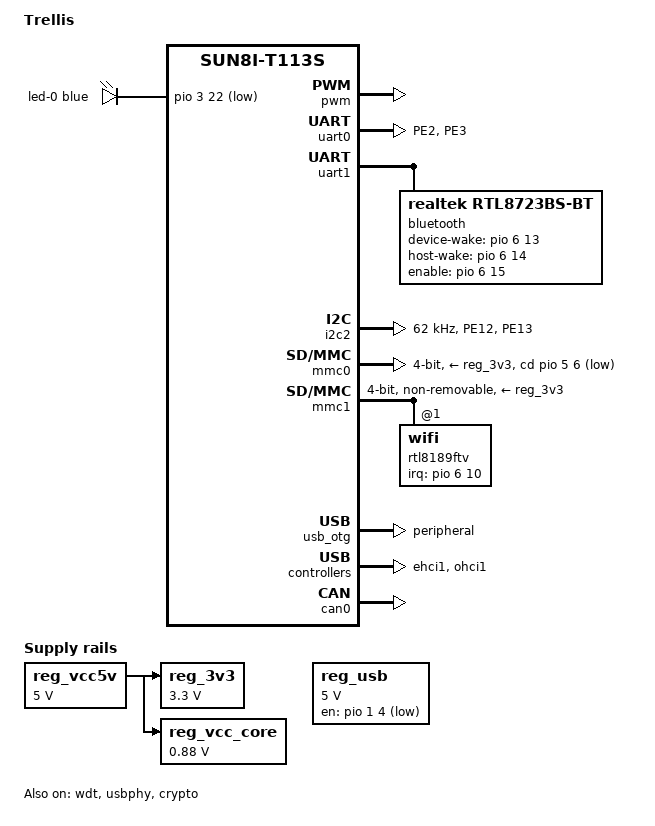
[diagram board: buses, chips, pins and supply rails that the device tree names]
// SPDX-License-Identifier: (GPL-2.0+ or MIT)
// Copyright (C) 2024 Connor Rigby <connorr@hey.com>

#include <dt-bindings/interrupt-controller/irq.h>

/dts-v1/;

#include <arm/allwinner/sun8i-t113s.dtsi>

#include <dt-bindings/gpio/gpio.h>
#include <dt-bindings/input/input.h>
#include <dt-bindings/leds/common.h>
#include <dt-bindings/pwm/pwm.h>

/ {
	model = "Trellis";
	compatible = "allwinner,sun8i-t113s", "allwinner,sun8i";

	aliases {
		mmc0 = &mmc0;
		serial0 = &uart0;
		serial1 = &uart1;
		ethernet0 = &rtl8189ftv;
	};

	chosen {
		stdout-path = "serial0:115200n8";
	};

	/* board wide 5V supply directly from the USB-C socket */
	reg_vcc5v: regulator-5v {
		compatible = "regulator-fixed";
		regulator-name = "vcc-5v";
		regulator-min-microvolt = <5000000>;
		regulator-max-microvolt = <5000000>;
		regulator-always-on;
	};

	/* SY8008 DC/DC regulator on the board */
	reg_3v3: regulator-3v3 {
		compatible = "regulator-fixed";
		regulator-name = "vcc-3v3";
		regulator-min-microvolt = <3300000>;
		regulator-max-microvolt = <3300000>;
		vin-supply = <&reg_vcc5v>;
	};

	/* SY8008 DC/DC regulator on the board, also supplying VDD-SYS */
	reg_vcc_core: regulator-core {
		compatible = "regulator-fixed";
		regulator-name = "vcc-core";
		regulator-min-microvolt = <880000>;
		regulator-max-microvolt = <880000>;
		vin-supply = <&reg_vcc5v>;
	};

	reg_usb: regulator-usb {
		compatible = "regulator-fixed";
		regulator-name = "vbus-5v";
		regulator-min-microvolt = <5000000>;
		regulator-max-microvolt = <5000000>;
		gpio = <&pio 1 4 GPIO_ACTIVE_LOW>; /* PB4 */
		startup-delay-us = <1000000>; /* 1 second */
		off-on-delay-us = <1000000>; /* 1 second */
		enable-active-low;
	};

	leds {
		compatible = "gpio-leds";

		led-0 {
			color = <LED_COLOR_ID_BLUE>;
			function = LED_FUNCTION_STATUS;
			gpios = <&pio 3 22 GPIO_ACTIVE_LOW>; /* PD22 */
		};
	};

};

&dcxo {
	clock-frequency = <24000000>;
};

&cpu0 {
	cpu-supply = <&reg_vcc_core>;
	clock-frequency = <1200000000>;
};

&cpu1 {
	cpu-supply = <&reg_vcc_core>;
	clock-frequency = <1200000000>;
};

&wdt {
	status = "okay";
};

&pio {
	vcc-pb-supply = <&reg_3v3>;
	vcc-pc-supply = <&reg_3v3>;
	vcc-pd-supply = <&reg_3v3>;
	vcc-pe-supply = <&reg_3v3>;
	vcc-pf-supply = <&reg_3v3>;
	vcc-pg-supply = <&reg_3v3>;

	uart0_pe2_pins: uart0-pe2-pins {
		pins = "PE2", "PE3";
		function = "uart0";
	};

	i2c2_pe12_pins: i2c2-pe12-pins {
		pins = "PE12", "PE13";
		function = "i2c2";
	};

	pwm0_pd16_pins: pwm0-pd16-pins {
		pins = "PD16";
		function = "pwm0";
	};

	pwm1_pd17_pins: pwm1-pd16-pins {
		pins = "PD17";
		function = "pwm1";
	};

	pwm2_pd18_pins: pwm2-pd18-pins {
		pins = "PD18";
		function = "pwm2";
	};

	pwm3_pd19_pins: pwm2-pd19-pins {
		pins = "PD19";
		function = "pwm3";
	};

	pwm4_pd20_pins: pwm4-pd20-pins {
		pins = "PD20";
		function = "pwm4";
	};

	/omit-if-no-ref/
	pwm5_pd21_pins: pwm5-pd21-pins {
		pins = "PD21";
		function = "pwm5";
	};

	pwm6_pd9_pins: pwm6-pd9-pins {
		pins = "PD9";
		function = "pwm6";
	};

	/omit-if-no-ref/
	pwm7_pd22_pins: pwm7-pd22-pins {
		pins = "PD22";
		function = "pwm7";
	};

	ledc_pe5_pin: ledc-pe5-pin {
		pins = "PE5";
		function = "ledc";
	};

	spi0_cs0_pc_pin: spi0-cs0-pc-pin {
		pins = "PC3";
		function = "spi0";
	};
};

&pwm {
	status = "okay";
};


&uart0 {
	pinctrl-0 = <&uart0_pe2_pins>;
	pinctrl-names = "default";
	status = "okay";
};

&uart1 {
	uart-has-rtscts;
	pinctrl-0 = <&uart1_pg6_pins>, <&uart1_pg8_rts_cts_pins>;
	pinctrl-names = "default";
	status = "okay";

	bluetooth {
		compatible = "realtek,rtl8723bs-bt";
		device-wake-gpios = <&pio 6 13 GPIO_ACTIVE_HIGH>; /* PG13 */
		host-wake-gpios =  <&pio 6 14 GPIO_ACTIVE_HIGH>; /* PG14 */
		enable-gpios = <&pio 6 15 GPIO_ACTIVE_HIGH>; /* PG15 */
		max-speed = <115200>;
		// max-speed = <1500000>;
		status = "okay";
	};
};

&i2c2 {
	pinctrl-0 = <&i2c2_pe12_pins>;
	pinctrl-names = "default";
	status = "okay";
	clock-frequency = <62000>;
};

&mmc0 {
	pinctrl-0 = <&mmc0_pins>;
	pinctrl-names = "default";
	vmmc-supply = <&reg_3v3>;
	cd-gpios = <&pio 5 6 GPIO_ACTIVE_LOW>;
	disable-wp;
	bus-width = <4>;
	status = "okay";
};

&mmc1 {
	pinctrl-0 = <&mmc1_pins>;
	pinctrl-names = "default";

	/* SDIO to WiFi module */
	vmmc-supply = <&reg_3v3>;
	mmc-pwrseq = <&wifi_pwrseq>;
	bus-width = <4>;
	non-removable;
	status = "okay";

	rtl8189ftv: wifi@1 {
		reg = <1>;
		interrupt-parent = <&pio>;
		interrupts = <6 10 IRQ_TYPE_LEVEL_LOW>; /* PG10 = WL_WAKE_AP */
		interrupt-names = "host-wake";
	};
};

&usb_otg {
	dr_mode = "peripheral";
	status = "okay";
};

&usbphy {
	usb1_vbus-supply = <&reg_usb>;
	status = "okay";
};

&ehci1 {
	status = "okay";
};

&ohci1 {
	status = "okay";
};

&can0 {
	pinctrl-names = "default";
	pinctrl-0 = <&can0_pins>;
	status = "okay";
};

&spi0 {
	status = "disabled";
};

&mixer0 {
	status = "disabled";
};

&tcon_top {
	status = "disabled";
};

&tcon_lcd0 {
	status = "disabled";
};

&crypto {
	status = "okay";
};
